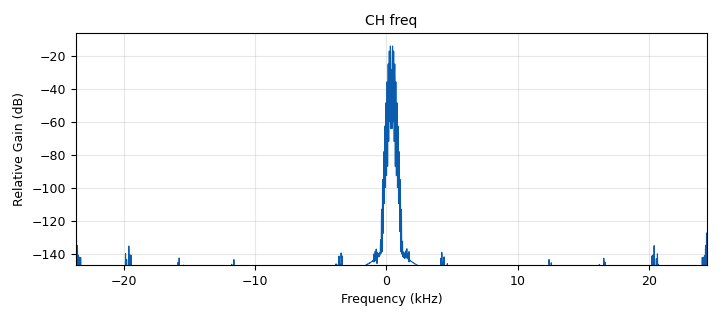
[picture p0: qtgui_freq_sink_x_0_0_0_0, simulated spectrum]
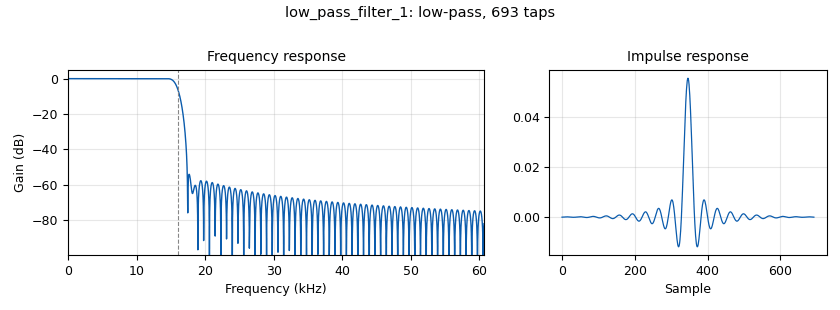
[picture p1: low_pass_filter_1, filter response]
options:
  parameters:
    generate_options: qt_gui
    id: FM_test
    output_language: python
    title: Not titled yet
  states: {}

blocks:
- name: bandwidth_0
  id: variable
  parameters:
    value: 5e6
  states: {}
- name: bandwidth_audio
  id: variable
  parameters:
    value: 48e3
  states: {}
- name: center_freq_0
  id: variable
  parameters:
    value: 100e6
  states: {}
- name: ch_freq
  id: variable
  parameters:
    value: 101.9e6
  states: {}
- name: ch_width
  id: variable
  parameters:
    value: 200e3
  states: {}
- name: fft_size
  id: variable
  parameters:
    value: '4096'
  states: {}
- name: freq_range
  id: variable_qtgui_range
  parameters:
    label: freq_range
    start: '100'
    step: '1'
    stop: '15000'
    value: '1000'
  states: {}
- name: samp_rate
  id: variable
  parameters:
    value: int(576e3)
  states: {}
- name: variable_qtgui_range_0
  id: variable_qtgui_range
  parameters:
    start: '-3e6'
    step: '1'
    stop: 3e6
    value: '0'
  states: {state: disabled}
- name: analog_noise_source_x_0
  id: analog_noise_source_x
  parameters:
    amp: '0.3'
    noise_type: analog.GR_GAUSSIAN
    seed: '0'
    type: float
  states: {state: disabled}
- name: analog_sig_source_x_0
  id: analog_sig_source_x
  parameters:
    amp: '1'
    freq: 'center_freq_0 - ch_freq '
    offset: '0'
    phase: '0'
    samp_rate: samp_rate
    type: complex
    waveform: analog.GR_COS_WAVE
  states: {state: disabled}
- name: analog_sig_source_x_1
  id: analog_sig_source_x
  parameters:
    amp: '1'
    freq: freq_range
    offset: '0'
    phase: '0'
    samp_rate: bandwidth_audio
    type: float
    waveform: analog.GR_COS_WAVE
  states: {}
- name: analog_wfm_rcv_0
  id: analog_wfm_rcv
  parameters:
    audio_decimation: '10'
    quad_rate: 480e3
  states: {state: disabled}
- name: analog_wfm_tx_0
  id: analog_wfm_tx
  parameters:
    audio_rate: int(bandwidth_audio)
    fh: '-1.0'
    max_dev: 5e3
    quad_rate: samp_rate
    tau: '75e-6'
  states: {}
- name: audio_sink_0
  id: audio_sink
  parameters:
    samp_rate: '48000'
  states: {state: disabled}
- name: audio_source_0
  id: audio_source
  parameters:
    device_name: pulse_monitor
    samp_rate: '48000'
  states: {state: disabled}
- name: band_pass_filter_0
  id: band_pass_filter
  parameters:
    decim: '1'
    gain: '1'
    high_cutoff_freq: 1e4
    low_cutoff_freq: 1e3
    samp_rate: bandwidth_audio
    type: fir_filter_fff
    width: 1e3
    win: window.WIN_HAMMING
  states: {state: disabled}
- name: blocks_multiply_const_vxx_0
  id: blocks_multiply_const_vxx
  parameters:
    const: '0.4'
    type: float
  states: {}
- name: blocks_multiply_xx_0
  id: blocks_multiply_xx
  parameters:
    type: complex
  states: {state: disabled}
- name: blocks_throttle_0
  id: blocks_throttle
  parameters:
    samples_per_second: bandwidth_audio
    type: float
  states: {}
- name: blocks_vector_sink_x_0
  id: blocks_vector_sink_x
  parameters:
    type: complex
  states: {state: disabled}
- name: low_pass_filter_0
  id: low_pass_filter
  parameters:
    cutoff_freq: 65e3
    decim: int( samp_rate / ch_width)
    gain: '1'
    samp_rate: samp_rate
    type: fir_filter_ccf
    width: 25e3
    win: window.WIN_HAMMING
  states: {state: disabled}
- name: low_pass_filter_1
  id: low_pass_filter
  parameters:
    cutoff_freq: 16e3
    decim: '1'
    gain: '1'
    samp_rate: samp_rate
    type: fir_filter_ccf
    width: 2e3
    win: window.WIN_HAMMING
  states: {}
- name: osmosdr_sink_0
  id: osmosdr_sink
  parameters:
    bb_gain0: '20'
    freq0: 100e6
    gain0: '1'
    if_gain0: '20'
    sample_rate: samp_rate
    sync: sync
    type: fc32
  states: {state: disabled}
- name: qtgui_freq_sink_x_0_0
  id: qtgui_freq_sink_x
  parameters:
    autoscale: 'True'
    average: '0.2'
    bw: bandwidth_0
    fc: ch_freq
    fftsize: fft_size
    grid: 'True'
    name: '"CH freq"'
    type: complex
  states: {state: disabled}
- name: qtgui_freq_sink_x_0_0_0
  id: qtgui_freq_sink_x
  parameters:
    autoscale: 'True'
    average: '0.2'
    bw: bandwidth_audio
    ctrlpanel: 'True'
    fc: '400'
    fftsize: fft_size
    freqhalf: 'False'
    grid: 'True'
    name: '"CH freq"'
    type: float
  states: {state: disabled}
- name: qtgui_freq_sink_x_0_0_0_0
  id: qtgui_freq_sink_x
  parameters:
    autoscale: 'True'
    average: '0.2'
    bw: bandwidth_audio
    ctrlpanel: 'True'
    fc: '400'
    fftsize: fft_size
    freqhalf: 'False'
    grid: 'True'
    name: '"CH freq"'
    type: complex
  states: {}
- name: qtgui_time_sink_x_0
  id: qtgui_time_sink_x
  parameters:
    ctrlpanel: 'True'
    size: '1024'
    srate: samp_rate
    type: complex
  states: {state: disabled}
- name: qtgui_time_sink_x_0_0
  id: qtgui_time_sink_x
  parameters:
    ctrlpanel: 'True'
    entags: 'False'
    size: fft_size
    srate: bandwidth_audio
    stemplot: 'True'
    type: float
  states: {state: disabled}
- name: qtgui_time_sink_x_0_0_0
  id: qtgui_time_sink_x
  parameters:
    ctrlpanel: 'True'
    size: fft_size
    srate: bandwidth_audio
    stemplot: 'True'
    type: float
  states: {state: disabled}
- name: qtgui_time_sink_x_0_1
  id: qtgui_time_sink_x
  parameters:
    ctrlpanel: 'True'
    size: fft_size
    srate: samp_rate
    type: complex
  states: {state: disabled}
- name: qtgui_waterfall_sink_x_0
  id: qtgui_waterfall_sink_x
  parameters:
    bw: bandwidth_0
    fc: center_freq_0
    fftsize: fft_size
    type: complex
  states: {state: disabled}
- name: qtgui_waterfall_sink_x_0_0
  id: qtgui_waterfall_sink_x
  parameters:
    bw: bandwidth_audio
    fc: '0'
    fftsize: fft_size
    freqhalf: 'False'
    grid: 'True'
    type: float
  states: {state: disabled}
- name: qtgui_waterfall_sink_x_0_1
  id: qtgui_waterfall_sink_x
  parameters:
    bw: bandwidth_audio
    fc: '0'
    fftsize: fft_size
    type: complex
    wintype: window.WIN_HAMMING
  states: {state: disabled}
- name: rational_resampler_xxx_0
  id: rational_resampler_xxx
  parameters:
    decim: '5'
    interp: '12'
    type: ccc
  states: {state: disabled}

connections:
- [analog_noise_source_x_0, '0', band_pass_filter_0, '0']
- [analog_sig_source_x_0, '0', blocks_multiply_xx_0, '1']
- [analog_sig_source_x_1, '0', blocks_multiply_const_vxx_0, '0']
- [analog_sig_source_x_1, '0', blocks_throttle_0, '0']
- [analog_wfm_rcv_0, '0', audio_sink_0, '0']
- [analog_wfm_tx_0, '0', low_pass_filter_1, '0']
- [audio_source_0, '0', analog_wfm_tx_0, '0']
- [audio_source_0, '0', blocks_throttle_0, '0']
- [band_pass_filter_0, '0', blocks_throttle_0, '0']
- [blocks_multiply_const_vxx_0, '0', analog_wfm_tx_0, '0']
- [blocks_multiply_xx_0, '0', low_pass_filter_0, '0']
- [blocks_multiply_xx_0, '0', qtgui_freq_sink_x_0_0, '0']
- [blocks_throttle_0, '0', qtgui_freq_sink_x_0_0_0, '0']
- [blocks_throttle_0, '0', qtgui_time_sink_x_0_0, '0']
- [blocks_throttle_0, '0', qtgui_waterfall_sink_x_0_0, '0']
- [low_pass_filter_0, '0', rational_resampler_xxx_0, '0']
- [low_pass_filter_1, '0', blocks_multiply_xx_0, '0']
- [low_pass_filter_1, '0', qtgui_freq_sink_x_0_0_0_0, '0']
- [low_pass_filter_1, '0', qtgui_time_sink_x_0_1, '0']
- [low_pass_filter_1, '0', qtgui_waterfall_sink_x_0, '0']
- [low_pass_filter_1, '0', qtgui_waterfall_sink_x_0_1, '0']
- [rational_resampler_xxx_0, '0', analog_wfm_rcv_0, '0']
- [rational_resampler_xxx_0, '0', blocks_vector_sink_x_0, '0']
- [rational_resampler_xxx_0, '0', qtgui_time_sink_x_0, '0']

metadata:
  file_format: 1
